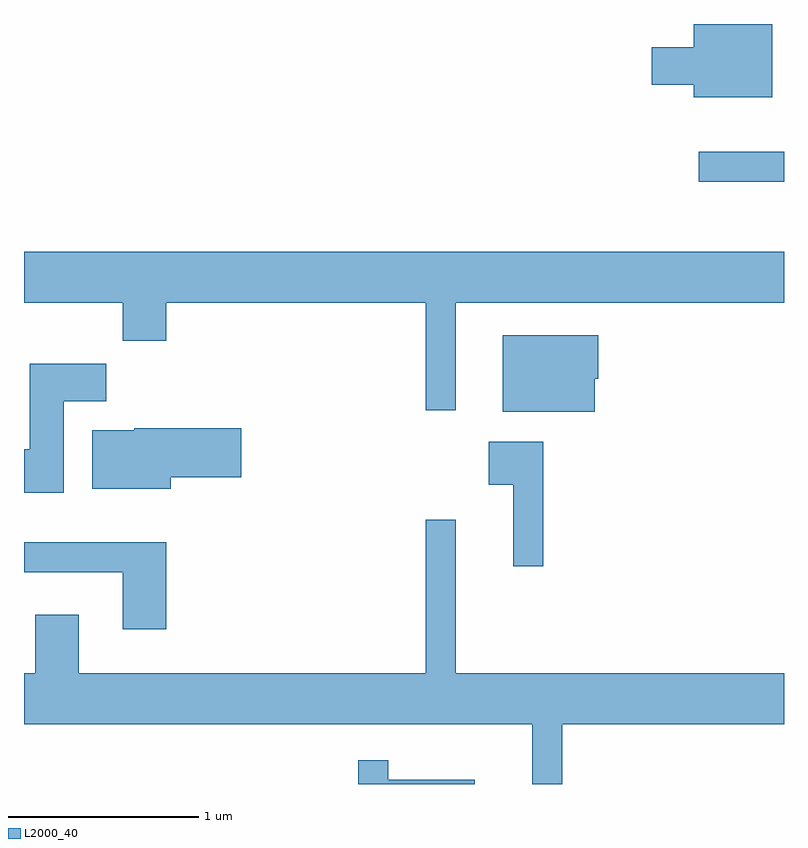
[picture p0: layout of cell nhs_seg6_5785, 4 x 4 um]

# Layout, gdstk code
import gdstk
lib = gdstk.Library(unit=1e-6, precision=1e-09)
def R(c, l, rs):  # rectangles x0, y0, x1, y1
    for r in rs: c.add(gdstk.rectangle(r[:2], r[2:], *l))
def P(c, l, *ps):  # polygons
    for p in ps: c.add(gdstk.Polygon(p, *l))
L2000_40 = (2000, 40)

nhs_seg6_5785 = lib.new_cell('nhs_seg6_5785')
R(nhs_seg6_5785, L2000_40, [(365.163,1557.331,365.611,1557.489)])
P(nhs_seg6_5785, L2000_40, [(365.549,1558.162),(365.136,1558.162),(365.136,1558.039),(364.916,1558.039),(364.916,1557.841),(365.136,1557.841),(365.136,1557.776),(365.549,1557.776)],
  [(363.884,1556.696),(365.611,1556.696),(365.611,1556.964),(361.611,1556.964),(361.611,1556.696),(362.131,1556.696),(362.131,1556.496),(362.359,1556.496),(362.359,1556.696),(363.726,1556.696),(363.726,1556.128),(363.884,1556.128)],
  [(364.614,1556.296),(364.634,1556.296),(364.634,1556.524),(364.131,1556.524),(364.131,1556.121),(364.614,1556.121)],
  [(361.819,1556.176),(362.044,1556.176),(362.044,1556.374),(361.641,1556.374),(361.641,1555.924),(361.611,1555.924),(361.611,1555.696),(361.819,1555.696)],
  [(362.384,1555.776),(362.754,1555.776),(362.754,1556.034),(362.19,1556.034),(362.19,1556.024),(361.971,1556.024),(361.971,1555.716),(362.384,1555.716)],
  [(364.344,1555.964),(364.056,1555.964),(364.056,1555.736),(364.186,1555.736),(364.186,1555.308),(364.344,1555.308)],
  [(364.444,1554.476),(365.611,1554.476),(365.611,1554.744),(363.884,1554.744),(363.884,1555.553),(363.726,1555.553),(363.726,1554.744),(361.899,1554.744),(361.899,1555.054),(361.671,1555.054),(361.671,1554.744),(361.611,1554.744),(361.611,1554.476),(364.286,1554.476),(364.286,1554.162),(364.444,1554.162)],
  [(362.359,1555.434),(361.611,1555.434),(361.611,1555.276),(362.131,1555.276),(362.131,1554.976),(362.359,1554.976)],
  [(363.984,1554.184),(363.529,1554.184),(363.529,1554.288),(363.371,1554.288),(363.371,1554.162),(363.984,1554.162)])

lib.write_gds('nhs_seg6_5785.gds')
